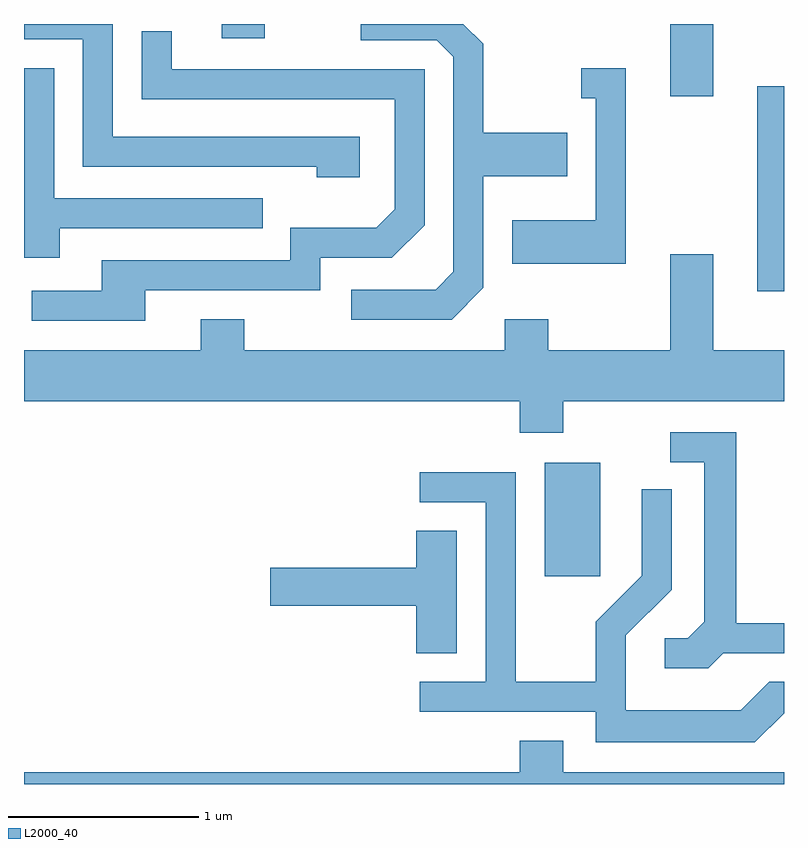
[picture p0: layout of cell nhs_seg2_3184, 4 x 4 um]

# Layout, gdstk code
import gdstk
lib = gdstk.Library(unit=1e-6, precision=1e-09)
def R(c, l, rs):  # rectangles x0, y0, x1, y1
    for r in rs: c.add(gdstk.rectangle(r[:2], r[2:], *l))
def P(c, l, *ps):  # polygons
    for p in ps: c.add(gdstk.Polygon(p, *l))
L2000_40 = (2000, 40)

nhs_seg2_3184 = lib.new_cell('nhs_seg2_3184')
R(nhs_seg2_3184, L2000_40, [(280.351,1102.896,280.644,1103.494), (281.471,1104.396,281.611,1105.474), (281.011,1105.421,281.239,1105.802), (278.651,1105.726,278.879,1105.802)])
P(nhs_seg2_3184, L2000_40, [(279.379,1105.209),(278.079,1105.209),(278.079,1105.802),(277.611,1105.802),(277.611,1105.721),(277.921,1105.721),(277.921,1105.051),(279.151,1105.051),(279.151,1104.996),(279.379,1104.996)],
  [(280.029,1104.414),(280.029,1105.001),(280.469,1105.001),(280.469,1105.229),(280.029,1105.229),(280.029,1105.697),(279.924,1105.802),(279.383,1105.802),(279.383,1105.716),(279.784,1105.716),(279.871,1105.629),(279.871,1104.497),(279.779,1104.404),(279.333,1104.404),(279.333,1104.246),(279.862,1104.246)],
  [(278.249,1104.401),(279.169,1104.401),(279.169,1104.571),(279.547,1104.571),(279.719,1104.744),(279.719,1105.564),(278.389,1105.564),(278.389,1105.763),(278.231,1105.763),(278.231,1105.406),(279.561,1105.406),(279.561,1104.827),(279.464,1104.729),(279.011,1104.729),(279.011,1104.559),(278.021,1104.559),(278.021,1104.399),(277.653,1104.399),(277.653,1104.241),(278.249,1104.241)],
  [(280.779,1105.569),(280.543,1105.569),(280.543,1105.411),(280.621,1105.411),(280.621,1104.769),(280.181,1104.769),(280.181,1104.541),(280.779,1104.541)],
  [(277.799,1104.726),(278.868,1104.726),(278.868,1104.884),(277.769,1104.884),(277.769,1105.569),(277.611,1105.569),(277.611,1104.571),(277.799,1104.571)],
  [(280.449,1103.816),(281.611,1103.816),(281.611,1104.084),(281.239,1104.084),(281.239,1104.589),(281.011,1104.589),(281.011,1104.084),(280.369,1104.084),(280.369,1104.249),(280.141,1104.249),(280.141,1104.084),(278.769,1104.084),(278.769,1104.249),(278.541,1104.249),(278.541,1104.084),(277.611,1104.084),(277.611,1103.816),(280.221,1103.816),(280.221,1103.651),(280.449,1103.651)],
  [(281.292,1102.491),(281.611,1102.491),(281.611,1102.649),(281.359,1102.649),(281.359,1103.654),(281.013,1103.654),(281.013,1103.496),(281.191,1103.496),(281.191,1102.657),(281.104,1102.569),(280.983,1102.569),(280.983,1102.411),(281.212,1102.411)],
  [(281.611,1102.175),(281.611,1102.339),(281.534,1102.339),(281.384,1102.189),(280.779,1102.189),(280.779,1102.584),(281.019,1102.824),(281.019,1103.353),(280.861,1103.353),(280.861,1102.897),(280.621,1102.657),(280.621,1102.339),(280.199,1102.339),(280.199,1103.444),(279.693,1103.444),(279.693,1103.286),(280.041,1103.286),(280.041,1102.339),(279.693,1102.339),(279.693,1102.181),(280.621,1102.181),(280.621,1102.021),(281.457,1102.021)],
  [(279.889,1103.134),(279.676,1103.134),(279.676,1102.939),(278.906,1102.939),(278.906,1102.741),(279.676,1102.741),(279.676,1102.491),(279.889,1102.491)],
  [(281.611,1101.864),(280.449,1101.864),(280.449,1102.029),(280.221,1102.029),(280.221,1101.864),(277.611,1101.864),(277.611,1101.802),(281.611,1101.802)])

lib.write_gds('nhs_seg2_3184.gds')
